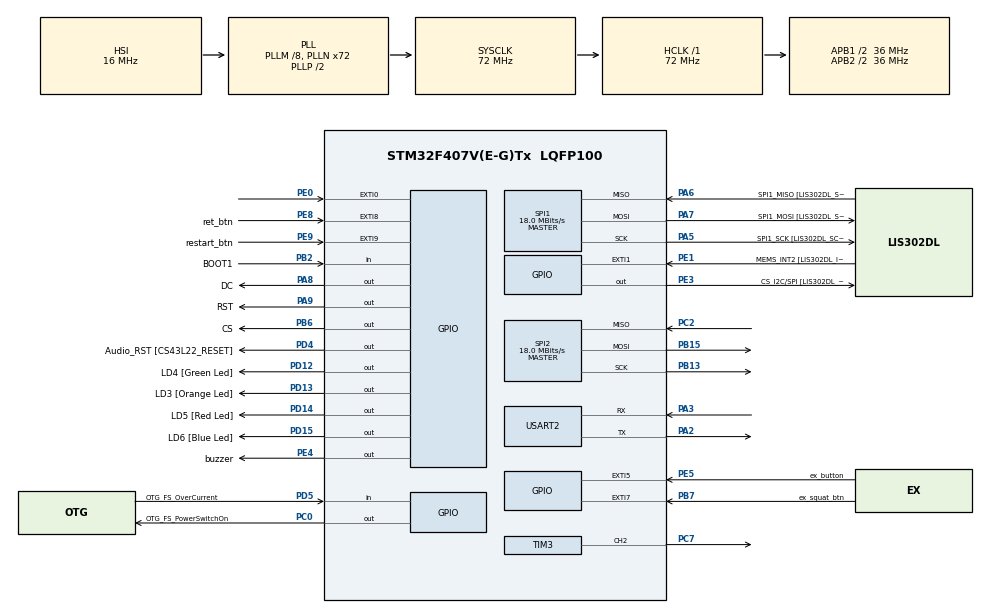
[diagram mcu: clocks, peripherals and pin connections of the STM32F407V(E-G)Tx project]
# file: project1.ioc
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Dma.Request0=SPI1_TX
Dma.Request1=SPI2_TX
Dma.SPI1_TX.0.Direction=DMA_MEMORY_TO_PERIPH
Dma.SPI1_TX.0.FIFOMode=DMA_FIFOMODE_DISABLE
Dma.SPI1_TX.0.Instance=DMA2_Stream3
Dma.SPI1_TX.0.MemDataAlignment=DMA_MDATAALIGN_BYTE
Dma.SPI1_TX.0.MemInc=DMA_MINC_ENABLE
Dma.SPI1_TX.0.Mode=DMA_NORMAL
Dma.SPI1_TX.0.PeriphDataAlignment=DMA_PDATAALIGN_BYTE
Dma.SPI1_TX.0.PeriphInc=DMA_PINC_DISABLE
Dma.SPI1_TX.0.Priority=DMA_PRIORITY_LOW
Dma.SPI2_TX.1.Direction=DMA_MEMORY_TO_PERIPH
Dma.SPI2_TX.1.FIFOMode=DMA_FIFOMODE_DISABLE
Dma.SPI2_TX.1.Instance=DMA1_Stream4
Dma.SPI2_TX.1.MemDataAlignment=DMA_MDATAALIGN_BYTE
Dma.SPI2_TX.1.MemInc=DMA_MINC_ENABLE
Dma.SPI2_TX.1.Mode=DMA_NORMAL
Dma.SPI2_TX.1.PeriphDataAlignment=DMA_PDATAALIGN_BYTE
Dma.SPI2_TX.1.PeriphInc=DMA_PINC_DISABLE
Dma.SPI2_TX.1.Priority=DMA_PRIORITY_LOW
Mcu.Family=STM32F4
Mcu.Name=STM32F407V(E-G)Tx
Mcu.Package=LQFP100
NVIC.DMA1_Stream4_IRQn=true\:0\:0\:false\:false\:true\:false\:true\:true
NVIC.DMA2_Stream3_IRQn=true\:0\:0\:false\:false\:true\:false\:true\:true
NVIC.EXTI0_IRQn=true\:0\:0\:false\:false\:true\:true\:true\:true
NVIC.EXTI9_5_IRQn=true\:0\:0\:false\:false\:true\:true\:true\:true
NVIC.PriorityGroup=NVIC_PRIORITYGROUP_4
NVIC.TIM7_IRQn=true\:0\:0\:false\:false\:true\:false\:true\:true
NVIC.TimeBase=TIM7_IRQn
NVIC.TimeBaseIP=TIM7
PA10.GPIO_Label=OTG_FS_ID
PA10.GPIO_Mode=GPIO_MODE_AF_PP
PA10.GPIO_PuPd=GPIO_NOPULL
PA10.GPIO_Speed=GPIO_SPEED_FREQ_LOW
PA10.Signal=USB_OTG_FS_ID
PA11.GPIO_Label=OTG_FS_DM
PA11.GPIO_Mode=GPIO_MODE_AF_PP
PA11.GPIO_PuPd=GPIO_NOPULL
PA11.GPIO_Speed=GPIO_SPEED_FREQ_LOW
PA11.Signal=USB_OTG_FS_DM
PA12.GPIO_Label=OTG_FS_DP
PA12.GPIO_Mode=GPIO_MODE_AF_PP
PA12.GPIO_PuPd=GPIO_NOPULL
PA12.GPIO_Speed=GPIO_SPEED_FREQ_LOW
PA12.Signal=USB_OTG_FS_DP
PA13.GPIO_Label=SWDIO
PA13.Mode=Serial_Wire
PA13.Signal=SYS_JTMS-SWDIO
PA14.GPIO_Label=SWCLK
PA14.Mode=Serial_Wire
PA14.Signal=SYS_JTCK-SWCLK
PA2.Mode=Asynchronous
PA2.Signal=USART2_TX
PA3.Mode=Asynchronous
PA3.Signal=USART2_RX
PA4.GPIO_Label=I2S3_WS [CS43L22_LRCK]
PA4.GPIO_Mode=GPIO_MODE_AF_PP
PA4.GPIO_PuPd=GPIO_NOPULL
PA4.GPIO_Speed=GPIO_SPEED_FREQ_LOW
PA4.Signal=I2S3_WS
PA5.GPIO_Label=SPI1_SCK [LIS302DL_SCL/SPC]
PA5.GPIO_Mode=GPIO_MODE_AF_PP
PA5.GPIO_PuPd=GPIO_NOPULL
PA5.GPIO_Speed=GPIO_SPEED_FREQ_LOW
PA5.Mode=Full_Duplex_Master
PA5.Signal=SPI1_SCK
PA6.GPIO_Label=SPI1_MISO [LIS302DL_SDO]
PA6.GPIO_Mode=GPIO_MODE_AF_PP
PA6.GPIO_PuPd=GPIO_NOPULL
PA6.GPIO_Speed=GPIO_SPEED_FREQ_LOW
PA6.Mode=Full_Duplex_Master
PA6.Signal=SPI1_MISO
PA7.GPIO_Label=SPI1_MOSI [LIS302DL_SDA/SDI/SDO]
PA7.GPIO_Mode=GPIO_MODE_AF_PP
PA7.GPIO_PuPd=GPIO_NOPULL
PA7.GPIO_Speed=GPIO_SPEED_FREQ_LOW
PA7.Mode=Full_Duplex_Master
PA7.Signal=SPI1_MOSI
PA8.GPIO_Label=DC
PA8.Signal=GPIO_Output
PA9.GPIO_Label=RST
PA9.Signal=GPIO_Output
PB10.GPIO_Label=CLK_IN [MP45DT02_CLK]
PB10.GPIO_Mode=GPIO_MODE_AF_PP
PB10.GPIO_PuPd=GPIO_NOPULL
PB10.GPIO_Speed=GPIO_SPEED_FREQ_LOW
PB10.Signal=I2S2_CK
PB13.Mode=Full_Duplex_Master
PB13.Signal=SPI2_SCK
PB15.Mode=Full_Duplex_Master
PB15.Signal=SPI2_MOSI
PB2.GPIO_Label=BOOT1
PB2.GPIO_Mode=GPIO_MODE_INPUT
PB2.GPIO_PuPd=GPIO_NOPULL
PB2.Signal=GPIO_Input
PB3.GPIO_Label=SWO
PB3.Signal=SYS_JTDO-SWO
PB6.GPIO_Label=CS
PB6.Signal=GPIO_Output
PB7.GPIO_Label=ex_squat_btn
PB7.GPIO_PuPd=GPIO_PULLUP
PB7.Signal=GPXTI7
PB9.GPIO_Label=Audio_SDA [CS43L22_SDA]
PB9.GPIO_Mode=GPIO_MODE_AF_OD
PB9.GPIO_PuPd=GPIO_NOPULL
PB9.GPIO_Speed=GPIO_SPEED_FREQ_LOW
PB9.Signal=I2C1_SDA
PC0.GPIO_Label=OTG_FS_PowerSwitchOn
PC0.GPIO_PuPd=GPIO_NOPULL
PC0.GPIO_Speed=GPIO_SPEED_FREQ_LOW
PC0.PinState=GPIO_PIN_SET
PC0.Signal=GPIO_Output
PC10.GPIO_Label=I2S3_SCK [CS43L22_SCLK]
PC10.GPIO_Mode=GPIO_MODE_AF_PP
PC10.GPIO_PuPd=GPIO_NOPULL
PC10.GPIO_Speed=GPIO_SPEED_FREQ_LOW
PC10.Signal=I2S3_CK
PC12.GPIO_Label=I2S3_SD [CS43L22_SDIN]
PC12.GPIO_Mode=GPIO_MODE_AF_PP
PC12.GPIO_PuPd=GPIO_NOPULL
PC12.GPIO_Speed=GPIO_SPEED_FREQ_LOW
PC12.Signal=I2S3_SD
PC14-OSC32_IN.GPIO_Label=PC14-OSC32_IN
PC14-OSC32_IN.Signal=RCC_OSC32_IN
PC15-OSC32_OUT.GPIO_Label=PC15-OSC32_OUT
PC15-OSC32_OUT.Signal=RCC_OSC32_OUT
PC2.Mode=Full_Duplex_Master
PC2.Signal=SPI2_MISO
PC3.GPIO_Label=PDM_OUT [MP45DT02_DOUT]
PC3.GPIO_Mode=GPIO_MODE_AF_PP
PC3.GPIO_PuPd=GPIO_NOPULL
PC3.GPIO_Speed=GPIO_SPEED_FREQ_LOW
PC3.Signal=I2S2_SD
PC7.Signal=S_TIM3_CH2
PD12.GPIO_Label=LD4 [Green Led]
PD12.GPIO_PuPd=GPIO_NOPULL
PD12.GPIO_Speed=GPIO_SPEED_FREQ_LOW
PD12.Signal=GPIO_Output
PD13.GPIO_Label=LD3 [Orange Led]
PD13.GPIO_PuPd=GPIO_NOPULL
PD13.GPIO_Speed=GPIO_SPEED_FREQ_LOW
PD13.Signal=GPIO_Output
PD14.GPIO_Label=LD5 [Red Led]
PD14.GPIO_PuPd=GPIO_NOPULL
PD14.GPIO_Speed=GPIO_SPEED_FREQ_LOW
PD14.Signal=GPIO_Output
PD15.GPIO_Label=LD6 [Blue Led]
PD15.GPIO_PuPd=GPIO_NOPULL
PD15.GPIO_Speed=GPIO_SPEED_FREQ_LOW
PD15.Signal=GPIO_Output
PD4.GPIO_Label=Audio_RST [CS43L22_RESET]
PD4.GPIO_PuPd=GPIO_NOPULL
PD4.GPIO_Speed=GPIO_SPEED_FREQ_LOW
PD4.Signal=GPIO_Output
PD5.GPIO_Label=OTG_FS_OverCurrent
PD5.GPIO_Mode=GPIO_MODE_INPUT
PD5.GPIO_PuPd=GPIO_NOPULL
PD5.Signal=GPIO_Input
PE0.Signal=GPXTI0
PE1.GPIO_Label=MEMS_INT2 [LIS302DL_INT2]
PE1.GPIO_ModeDefaultEXTI=GPIO_MODE_EVT_RISING
PE1.GPIO_PuPd=GPIO_NOPULL
PE1.Signal=GPXTI1
PE3.GPIO_Label=CS_I2C/SPI [LIS302DL_CS_I2C/SPI]
PE3.GPIO_PuPd=GPIO_NOPULL
PE3.GPIO_Speed=GPIO_SPEED_FREQ_LOW
PE3.Signal=GPIO_Output
PE4.GPIO_Label=buzzer
PE4.Signal=GPIO_Output
PE5.GPIO_Label=ex_button
PE5.GPIO_ModeDefaultEXTI=GPIO_MODE_IT_RISING
PE5.GPIO_PuPd=GPIO_PULLUP
PE5.Signal=GPXTI5
PE8.GPIO_Label=ret_btn
PE8.GPIO_PuPd=GPIO_PULLUP
PE8.Signal=GPXTI8
PE9.GPIO_Label=restart_btn
PE9.GPIO_PuPd=GPIO_PULLUP
PE9.Signal=GPXTI9
PH0-OSC_IN.GPIO_Label=PH0-OSC_IN
PH0-OSC_IN.Signal=RCC_OSC_IN
PH1-OSC_OUT.GPIO_Label=PH1-OSC_OUT
PH1-OSC_OUT.Signal=RCC_OSC_OUT
ProjectManager.HeapSize=0x200
ProjectManager.StackSize=0x400
ProjectManager.TargetToolchain=STM32CubeIDE
RCC.48MHZClocksFreq_Value=20571428.57142857
RCC.AHBFreq_Value=72000000
RCC.APB1CLKDivider=RCC_HCLK_DIV2
RCC.APB1Freq_Value=36000000
RCC.APB1TimFreq_Value=72000000
RCC.APB2CLKDivider=RCC_HCLK_DIV2
RCC.APB2Freq_Value=36000000
RCC.APB2TimFreq_Value=72000000
RCC.CortexFreq_Value=72000000
RCC.HCLKFreq_Value=72000000
RCC.HSE_VALUE=8000000
RCC.HSI_VALUE=16000000
RCC.LSE_VALUE=32768
RCC.PLLM=8
RCC.PLLN=72
RCC.PLLQ=7
RCC.SYSCLKFreq_VALUE=72000000
RCC.SYSCLKSource=RCC_SYSCLKSOURCE_PLLCLK
RCC.VCOOutputFreq_Value=144000000
SH.S_TIM3_CH2.0=TIM3_CH2,PWM Generation2 CH2
SPI1.BaudRatePrescaler=SPI_BAUDRATEPRESCALER_2
SPI1.CalculateBaudRate=18.0 MBits/s
SPI1.Direction=SPI_DIRECTION_2LINES
SPI1.Mode=SPI_MODE_MASTER
SPI1.VirtualType=VM_MASTER
SPI2.CalculateBaudRate=18.0 MBits/s
SPI2.Direction=SPI_DIRECTION_2LINES
SPI2.Mode=SPI_MODE_MASTER
SPI2.VirtualType=VM_MASTER
TIM3.Channel-PWM\ Generation2\ CH2=TIM_CHANNEL_2
USART2.VirtualMode=VM_ASYNC
VP_RNG_VS_RNG.Mode=RNG_Activate
VP_SYS_VS_tim7.Mode=TIM7
board=STM32F407G-DISC1

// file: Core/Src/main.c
/* USER CODE BEGIN Header */
/**
  ******************************************************************************
  * @file           : main.c
  * @brief          : Main program body
  ******************************************************************************
  * @attention
  *
  * Copyright (c) 2026 STMicroelectronics.
  * All rights reserved.
  *
  * This software is licensed under terms that can be found in the LICENSE file
  * in the root directory of this software component.
  * If no LICENSE file comes with this software, it is provided AS-IS.
  *
  ******************************************************************************
  */
/* USER CODE END Header */
#include "main.h"

/* USER CODE BEGIN Includes */
#include "FreeRTOS.h"
#include "task.h"
#include "GUI_Paint.h"
#include "fonts.h"
#include "image.h"
#include "LCD_Test.h"
#include "games.h"
#include "MY_LIS3DSH.h"
/* USER CODE END Includes */

RNG_HandleTypeDef hrng;

SPI_HandleTypeDef hspi1;
SPI_HandleTypeDef hspi2;
DMA_HandleTypeDef hdma_spi1_tx;
DMA_HandleTypeDef hdma_spi2_tx;

TIM_HandleTypeDef htim3;

UART_HandleTypeDef huart2;

/* USER CODE BEGIN PV */
char flag=0;
LIS3DSH_DataScaled myData;

/* USER CODE END PV */

void SystemClock_Config(void);
static void MX_GPIO_Init(void);
static void MX_DMA_Init(void);
static void MX_SPI1_Init(void);
static void MX_TIM3_Init(void);
static void MX_USART2_UART_Init(void);
static void MX_RNG_Init(void);
static void MX_SPI2_Init(void);

/* USER CODE BEGIN 0 */
int __io_putchar(int ch)
{
    HAL_UART_Transmit(&huart2, (uint8_t *)&ch, 1, HAL_MAX_DELAY);
    return ch;
}

TaskHandle_t menuHandle=NULL,DinoHandle=NULL,KartHandle=NULL;
volatile int8_t up=0,down=0,ret1=0,restart=0;

void menu(void *pvParameters){
	for(;;){
		Clear_Screen();
		printf("in menu\r\n");
		up=0,down=0;
		for(;;){
//			printf("up=%d down=%d\r\n", up, down);
			printf("Dino state = %d\r\n", eTaskGetState(DinoHandle));
			printf("Kart state = %d\r\n", eTaskGetState(KartHandle));
			if(up>=2){
				up=0;
				printf("Wake Dino state = %d\r\n", eTaskGetState(DinoHandle));
				vTaskResume(DinoHandle);
				vTaskSuspend(NULL);
				break;
			}else if(up){
				Paint_DrawString_EN(50,35,"Dino Game",&Font20,0xF800,0xFFFF);
//				printf("up\r\n");
			}else
				Paint_DrawString_EN(50,35,"Dino Game",&Font20,0xFFFF,0x0000);
	//		printf("up: %d\r\n",up);
			if(down>=2){
				down=0;
				printf("Wake Kart state = %d\r\n", eTaskGetState(KartHandle));
				vTaskResume(KartHandle);
				vTaskSuspend(NULL);
				break;
			}else if(down){
//				printf("down\r\n");
				Paint_DrawString_EN(50,80,"Race Game",&Font20,0xF800,0xFFFF);
			}else
				Paint_DrawString_EN(50,80,"Race Game",&Font20,0xFFFF,0x0000);
	//		printf("down: %d\r\n",down);
		}
	}
}

void Dino(void *pvParameters){
	for(;;){
		Clear_Screen();
		jump=0;squat=0;
		restart=0;
		ret1=0;
		Dino_Init();
		for(;;){
			Dino_Game();
			if(ret1){
				ret1=0;
				vTaskResume(menuHandle);
				vTaskSuspend(NULL);
				break;
			}
			if(restart)
				break;
		}
	}
}

void Kart(void *pvParameters){
	for(;;){
		Clear_Screen();
		Kart_Init();
		restart=0;
		ret1=0;
//		printf("ret on entry = %d\n", ret1);
		for(;;){
			Kart_Game();
			if(ret1){
				ret1=0;
				vTaskResume(menuHandle);
				vTaskSuspend(NULL);
				break;
			}
			if(restart)
				break;
		}
	}
}
#define DEBOUNCE 200
static uint32_t last_up=0,last_down=0,last_ret=0,last_restart=0;

void HAL_GPIO_EXTI_Callback(uint16_t GPIO_Pin)
{
	uint32_t now = HAL_GetTick();
    //return button
	if(GPIO_Pin==ret_btn_Pin&&(now - last_ret>DEBOUNCE)){
		printf("!\r\n");
		ret1=1;
		last_ret=now;
	}
	//up button
	if (GPIO_Pin == ex_button_Pin&&(now - last_up>DEBOUNCE))
    {
        printf("^\r\n");
		up++;
        down=0;
    	jump=1;
    	last_up=now;

    }
	//down button
    if(GPIO_Pin==ex_squat_btn_Pin&&(now - last_down>DEBOUNCE)){
    	printf("v\r\n");
    	up=0;
    	down++;
    	squat=1;
    	last_down=now;
    }
    //restart button
    if(GPIO_Pin==restart_btn_Pin&&(now - last_restart>DEBOUNCE)){
		printf("r\r\n");
		restart=1;
		last_restart=now;
    }

    //motion sensor
    if(GPIO_Pin==GPIO_PIN_0){
    	data_ready=1;
    }
}
/* USER CODE END 0 */

int main(void)
{
  /* USER CODE BEGIN 1 */
  LIS3DSH_InitTypeDef myAccConfigDef;
  /* USER CODE END 1 */

  /* MCU Configuration--------------------------------------------------------*/

  /* Reset of all peripherals, Initializes the Flash interface and the Systick. */
  HAL_Init();

  /* Configure the system clock */
  SystemClock_Config();

  /* Initialize all configured peripherals */
  MX_GPIO_Init();
  MX_DMA_Init();
  MX_SPI1_Init();
  MX_TIM3_Init();
  MX_USART2_UART_Init();
  MX_RNG_Init();
  MX_SPI2_Init();
  /* USER CODE BEGIN 2 */
  myAccConfigDef.dataRate = LIS3DSH_DATARATE_100;
  myAccConfigDef.fullScale = LIS3DSH_FULLSCALE_2;
  myAccConfigDef.antiAliasingBW = LIS3DSH_FILTER_BW_50;
  myAccConfigDef.enableAxes = LIS3DSH_XYZ_ENABLE;
  myAccConfigDef.interruptEnable = true;
  LIS3DSH_Init(&hspi1, &myAccConfigDef);

  LIS3DSH_X_calibrate(-1000.0, 980.0);
  LIS3DSH_Y_calibrate(-1020.0, 1040.0);
  LIS3DSH_Z_calibrate(-920.0, 1040.0);
  lcd_init();
//  printf("lcd init\r\n");
//  Dino_Init();
//  Kart_Init();
//  if(xTaskCreate(menu, "main menu", 512, NULL, 5, &menuHandle) != pdPASS) {
//      printf("menu task create failed!\r\n");
//  }
//  BaseType_t ret;
  xTaskCreate(menu,
		  "main menu",
		  512,
		  NULL,
		  3,
		  &menuHandle);
//  printf("menu create: %ld\r\n", ret);

  xTaskCreate(Dino,
		  "Dino_Game",
		  1024,
		  NULL,
		  3,
		  &DinoHandle);
//  printf("dino create: %ld\r\n", ret);
  xTaskCreate(Kart,
  		  "Kart_Game",
  		  1024,
  		  NULL,
  		  3,
  		  &KartHandle);
//  printf("Kart create: %ld\r\n", ret);
  vTaskSuspend(DinoHandle);
  vTaskSuspend(KartHandle);
  vTaskStartScheduler();

  /* USER CODE END 2 */

  /* Infinite loop */
  while (1)
  {

    /* USER CODE BEGIN 3 */
//	Dino_Game();
//	Kart_Game();
  }
  /* USER CODE END 3 */
}

void SystemClock_Config(void)
{
  RCC_OscInitTypeDef RCC_OscInitStruct = {0};
  RCC_ClkInitTypeDef RCC_ClkInitStruct = {0};

  /** Configure the main internal regulator output voltage
  */
  __HAL_RCC_PWR_CLK_ENABLE();
  __HAL_PWR_VOLTAGESCALING_CONFIG(PWR_REGULATOR_VOLTAGE_SCALE1);

  /** Initializes the RCC Oscillators according to the specified parameters
  * in the RCC_OscInitTypeDef structure.
  */
  RCC_OscInitStruct.OscillatorType = RCC_OSCILLATORTYPE_HSI;
  RCC_OscInitStruct.HSIState = RCC_HSI_ON;
  RCC_OscInitStruct.HSICalibrationValue = RCC_HSICALIBRATION_DEFAULT;
  RCC_OscInitStruct.PLL.PLLState = RCC_PLL_ON;
  RCC_OscInitStruct.PLL.PLLSource = RCC_PLLSOURCE_HSI;
  RCC_OscInitStruct.PLL.PLLM = 8;
  RCC_OscInitStruct.PLL.PLLN = 72;
  RCC_OscInitStruct.PLL.PLLP = RCC_PLLP_DIV2;
  RCC_OscInitStruct.PLL.PLLQ = 7;
  if (HAL_RCC_OscConfig(&RCC_OscInitStruct) != HAL_OK)
  {
    Error_Handler();
  }

  /** Initializes the CPU, AHB and APB buses clocks
  */
  RCC_ClkInitStruct.ClockType = RCC_CLOCKTYPE_HCLK|RCC_CLOCKTYPE_SYSCLK
                              |RCC_CLOCKTYPE_PCLK1|RCC_CLOCKTYPE_PCLK2;
  RCC_ClkInitStruct.SYSCLKSource = RCC_SYSCLKSOURCE_PLLCLK;
  RCC_ClkInitStruct.AHBCLKDivider = RCC_SYSCLK_DIV1;
  RCC_ClkInitStruct.APB1CLKDivider = RCC_HCLK_DIV2;
  RCC_ClkInitStruct.APB2CLKDivider = RCC_HCLK_DIV2;

  if (HAL_RCC_ClockConfig(&RCC_ClkInitStruct, FLASH_LATENCY_2) != HAL_OK)
  {
    Error_Handler();
  }
}

static void MX_RNG_Init(void)
{

  hrng.Instance = RNG;
  if (HAL_RNG_Init(&hrng) != HAL_OK)
  {
    Error_Handler();
  }

}

static void MX_SPI1_Init(void)
{

  /* SPI1 parameter configuration*/
  hspi1.Instance = SPI1;
  hspi1.Init.Mode = SPI_MODE_MASTER;
  hspi1.Init.Direction = SPI_DIRECTION_2LINES;
  hspi1.Init.DataSize = SPI_DATASIZE_8BIT;
  hspi1.Init.CLKPolarity = SPI_POLARITY_LOW;
  hspi1.Init.CLKPhase = SPI_PHASE_1EDGE;
  hspi1.Init.NSS = SPI_NSS_SOFT;
  hspi1.Init.BaudRatePrescaler = SPI_BAUDRATEPRESCALER_2;
  hspi1.Init.FirstBit = SPI_FIRSTBIT_MSB;
  hspi1.Init.TIMode = SPI_TIMODE_DISABLE;
  hspi1.Init.CRCCalculation = SPI_CRCCALCULATION_DISABLE;
  hspi1.Init.CRCPolynomial = 10;
  if (HAL_SPI_Init(&hspi1) != HAL_OK)
  {
    Error_Handler();
  }

}

static void MX_SPI2_Init(void)
{

  /* SPI2 parameter configuration*/
  hspi2.Instance = SPI2;
  hspi2.Init.Mode = SPI_MODE_MASTER;
  hspi2.Init.Direction = SPI_DIRECTION_2LINES;
  hspi2.Init.DataSize = SPI_DATASIZE_8BIT;
  hspi2.Init.CLKPolarity = SPI_POLARITY_LOW;
  hspi2.Init.CLKPhase = SPI_PHASE_1EDGE;
  hspi2.Init.NSS = SPI_NSS_SOFT;
  hspi2.Init.BaudRatePrescaler = SPI_BAUDRATEPRESCALER_2;
  hspi2.Init.FirstBit = SPI_FIRSTBIT_MSB;
  hspi2.Init.TIMode = SPI_TIMODE_DISABLE;
  hspi2.Init.CRCCalculation = SPI_CRCCALCULATION_DISABLE;
  hspi2.Init.CRCPolynomial = 10;
  if (HAL_SPI_Init(&hspi2) != HAL_OK)
  {
    Error_Handler();
  }

}

static void MX_TIM3_Init(void)
{

  TIM_MasterConfigTypeDef sMasterConfig = {0};
  TIM_OC_InitTypeDef sConfigOC = {0};

  htim3.Instance = TIM3;
  htim3.Init.Prescaler = 0;
  htim3.Init.CounterMode = TIM_COUNTERMODE_UP;
  htim3.Init.Period = 65535;
  htim3.Init.ClockDivision = TIM_CLOCKDIVISION_DIV1;
  htim3.Init.AutoReloadPreload = TIM_AUTORELOAD_PRELOAD_DISABLE;
  if (HAL_TIM_PWM_Init(&htim3) != HAL_OK)
  {
    Error_Handler();
  }
  sMasterConfig.MasterOutputTrigger = TIM_TRGO_RESET;
  sMasterConfig.MasterSlaveMode = TIM_MASTERSLAVEMODE_DISABLE;
  if (HAL_TIMEx_MasterConfigSynchronization(&htim3, &sMasterConfig) != HAL_OK)
  {
    Error_Handler();
  }
  sConfigOC.OCMode = TIM_OCMODE_PWM1;
  sConfigOC.Pulse = 0;
  sConfigOC.OCPolarity = TIM_OCPOLARITY_HIGH;
  sConfigOC.OCFastMode = TIM_OCFAST_DISABLE;
  if (HAL_TIM_PWM_ConfigChannel(&htim3, &sConfigOC, TIM_CHANNEL_2) != HAL_OK)
  {
    Error_Handler();
  }
  HAL_TIM_MspPostInit(&htim3);

}

static void MX_USART2_UART_Init(void)
{

  huart2.Instance = USART2;
  huart2.Init.BaudRate = 115200;
  huart2.Init.WordLength = UART_WORDLENGTH_8B;
  huart2.Init.StopBits = UART_STOPBITS_1;
  huart2.Init.Parity = UART_PARITY_NONE;
  huart2.Init.Mode = UART_MODE_TX_RX;
  huart2.Init.HwFlowCtl = UART_HWCONTROL_NONE;
  huart2.Init.OverSampling = UART_OVERSAMPLING_16;
  if (HAL_UART_Init(&huart2) != HAL_OK)
  {
    Error_Handler();
  }

}

static void MX_DMA_Init(void)
{

  /* DMA controller clock enable */
  __HAL_RCC_DMA2_CLK_ENABLE();
  __HAL_RCC_DMA1_CLK_ENABLE();

  /* DMA interrupt init */
  /* DMA1_Stream4_IRQn interrupt configuration */
  HAL_NVIC_SetPriority(DMA1_Stream4_IRQn, 0, 0);
  HAL_NVIC_EnableIRQ(DMA1_Stream4_IRQn);
  /* DMA2_Stream3_IRQn interrupt configuration */
  HAL_NVIC_SetPriority(DMA2_Stream3_IRQn, 0, 0);
  HAL_NVIC_EnableIRQ(DMA2_Stream3_IRQn);

}

static void MX_GPIO_Init(void)
{
  GPIO_InitTypeDef GPIO_InitStruct = {0};

  /* GPIO Ports Clock Enable */
  __HAL_RCC_GPIOE_CLK_ENABLE();
  __HAL_RCC_GPIOC_CLK_ENABLE();
  __HAL_RCC_GPIOH_CLK_ENABLE();
  __HAL_RCC_GPIOA_CLK_ENABLE();
  __HAL_RCC_GPIOB_CLK_ENABLE();
  __HAL_RCC_GPIOD_CLK_ENABLE();

  /*Configure GPIO pin Output Level */
  HAL_GPIO_WritePin(GPIOE, CS_I2C_SPI_Pin|buzzer_Pin, GPIO_PIN_RESET);

  /*Configure GPIO pin Output Level */
  HAL_GPIO_WritePin(OTG_FS_PowerSwitchOn_GPIO_Port, OTG_FS_PowerSwitchOn_Pin, GPIO_PIN_SET);

  /*Configure GPIO pin Output Level */
  HAL_GPIO_WritePin(GPIOD, LD4_Pin|LD3_Pin|LD5_Pin|LD6_Pin
                          |Audio_RST_Pin, GPIO_PIN_RESET);

  /*Configure GPIO pin Output Level */
  HAL_GPIO_WritePin(GPIOA, DC_Pin|RST_Pin, GPIO_PIN_RESET);

  /*Configure GPIO pin Output Level */
  HAL_GPIO_WritePin(CS_GPIO_Port, CS_Pin, GPIO_PIN_RESET);

  /*Configure GPIO pins : CS_I2C_SPI_Pin buzzer_Pin */
  GPIO_InitStruct.Pin = CS_I2C_SPI_Pin|buzzer_Pin;
  GPIO_InitStruct.Mode = GPIO_MODE_OUTPUT_PP;
  GPIO_InitStruct.Pull = GPIO_NOPULL;
  GPIO_InitStruct.Speed = GPIO_SPEED_FREQ_LOW;
  HAL_GPIO_Init(GPIOE, &GPIO_InitStruct);

  /*Configure GPIO pins : ex_button_Pin ret_btn_Pin restart_btn_Pin */
  GPIO_InitStruct.Pin = ex_button_Pin|ret_btn_Pin|restart_btn_Pin;
  GPIO_InitStruct.Mode = GPIO_MODE_IT_RISING;
  GPIO_InitStruct.Pull = GPIO_PULLUP;
  HAL_GPIO_Init(GPIOE, &GPIO_InitStruct);

  /*Configure GPIO pin : OTG_FS_PowerSwitchOn_Pin */
  GPIO_InitStruct.Pin = OTG_FS_PowerSwitchOn_Pin;
  GPIO_InitStruct.Mode = GPIO_MODE_OUTPUT_PP;
  GPIO_InitStruct.Pull = GPIO_NOPULL;
  GPIO_InitStruct.Speed = GPIO_SPEED_FREQ_LOW;
  HAL_GPIO_Init(OTG_FS_PowerSwitchOn_GPIO_Port, &GPIO_InitStruct);

  /*Configure GPIO pin : PDM_OUT_Pin */
  GPIO_InitStruct.Pin = PDM_OUT_Pin;
  GPIO_InitStruct.Mode = GPIO_MODE_AF_PP;
  GPIO_InitStruct.Pull = GPIO_NOPULL;
  GPIO_InitStruct.Speed = GPIO_SPEED_FREQ_LOW;
  GPIO_InitStruct.Alternate = GPIO_AF5_SPI2;
  HAL_GPIO_Init(PDM_OUT_GPIO_Port, &GPIO_InitStruct);

  /*Configure GPIO pin : I2S3_WS_Pin */
  GPIO_InitStruct.Pin = I2S3_WS_Pin;
  GPIO_InitStruct.Mode = GPIO_MODE_AF_PP;
  GPIO_InitStruct.Pull = GPIO_NOPULL;
  GPIO_InitStruct.Speed = GPIO_SPEED_FREQ_LOW;
  GPIO_InitStruct.Alternate = GPIO_AF6_SPI3;
  HAL_GPIO_Init(I2S3_WS_GPIO_Port, &GPIO_InitStruct);

  /*Configure GPIO pin : BOOT1_Pin */
  GPIO_InitStruct.Pin = BOOT1_Pin;
  GPIO_InitStruct.Mode = GPIO_MODE_INPUT;
  GPIO_InitStruct.Pull = GPIO_NOPULL;
  HAL_GPIO_Init(BOOT1_GPIO_Port, &GPIO_InitStruct);

  /*Configure GPIO pin : CLK_IN_Pin */
  GPIO_InitStruct.Pin = CLK_IN_Pin;
  GPIO_InitStruct.Mode = GPIO_MODE_AF_PP;
  GPIO_InitStruct.Pull = GPIO_NOPULL;
  GPIO_InitStruct.Speed = GPIO_SPEED_FREQ_LOW;
  GPIO_InitStruct.Alternate = GPIO_AF5_SPI2;
  HAL_GPIO_Init(CLK_IN_GPIO_Port, &GPIO_InitStruct);

  /*Configure GPIO pins : LD4_Pin LD3_Pin LD5_Pin LD6_Pin
                           Audio_RST_Pin */
  GPIO_InitStruct.Pin = LD4_Pin|LD3_Pin|LD5_Pin|LD6_Pin
                          |Audio_RST_Pin;
  GPIO_InitStruct.Mode = GPIO_MODE_OUTPUT_PP;
  GPIO_InitStruct.Pull = GPIO_NOPULL;
  GPIO_InitStruct.Speed = GPIO_SPEED_FREQ_LOW;
  HAL_GPIO_Init(GPIOD, &GPIO_InitStruct);

  /*Configure GPIO pins : DC_Pin RST_Pin */
  GPIO_InitStruct.Pin = DC_Pin|RST_Pin;
  GPIO_InitStruct.Mode = GPIO_MODE_OUTPUT_PP;
  GPIO_InitStruct.Pull = GPIO_NOPULL;
  GPIO_InitStruct.Speed = GPIO_SPEED_FREQ_LOW;
  HAL_GPIO_Init(GPIOA, &GPIO_InitStruct);

  /*Configure GPIO pins : OTG_FS_ID_Pin OTG_FS_DM_Pin OTG_FS_DP_Pin */
  GPIO_InitStruct.Pin = OTG_FS_ID_Pin|OTG_FS_DM_Pin|OTG_FS_DP_Pin;
  GPIO_InitStruct.Mode = GPIO_MODE_AF_PP;
  GPIO_InitStruct.Pull = GPIO_NOPULL;
  GPIO_InitStruct.Speed = GPIO_SPEED_FREQ_LOW;
  GPIO_InitStruct.Alternate = GPIO_AF10_OTG_FS;
  HAL_GPIO_Init(GPIOA, &GPIO_InitStruct);

  /*Configure GPIO pins : I2S3_SCK_Pin I2S3_SD_Pin */
  GPIO_InitStruct.Pin = I2S3_SCK_Pin|I2S3_SD_Pin;
  GPIO_InitStruct.Mode = GPIO_MODE_AF_PP;
  GPIO_InitStruct.Pull = GPIO_NOPULL;
  GPIO_InitStruct.Speed = GPIO_SPEED_FREQ_LOW;
  GPIO_InitStruct.Alternate = GPIO_AF6_SPI3;
  HAL_GPIO_Init(GPIOC, &GPIO_InitStruct);

  /*Configure GPIO pin : OTG_FS_OverCurrent_Pin */
  GPIO_InitStruct.Pin = OTG_FS_OverCurrent_Pin;
  GPIO_InitStruct.Mode = GPIO_MODE_INPUT;
  GPIO_InitStruct.Pull = GPIO_NOPULL;
  HAL_GPIO_Init(OTG_FS_OverCurrent_GPIO_Port, &GPIO_InitStruct);

  /*Configure GPIO pin : CS_Pin */
  GPIO_InitStruct.Pin = CS_Pin;
  GPIO_InitStruct.Mode = GPIO_MODE_OUTPUT_PP;
  GPIO_InitStruct.Pull = GPIO_NOPULL;
  GPIO_InitStruct.Speed = GPIO_SPEED_FREQ_LOW;
  HAL_GPIO_Init(CS_GPIO_Port, &GPIO_InitStruct);

  /*Configure GPIO pin : ex_squat_btn_Pin */
  GPIO_InitStruct.Pin = ex_squat_btn_Pin;
  GPIO_InitStruct.Mode = GPIO_MODE_IT_RISING;
  GPIO_InitStruct.Pull = GPIO_PULLUP;
  HAL_GPIO_Init(ex_squat_btn_GPIO_Port, &GPIO_InitStruct);

  /*Configure GPIO pin : Audio_SDA_Pin */
  GPIO_InitStruct.Pin = Audio_SDA_Pin;
  GPIO_InitStruct.Mode = GPIO_MODE_AF_OD;
  GPIO_InitStruct.Pull = GPIO_NOPULL;
  GPIO_InitStruct.Speed = GPIO_SPEED_FREQ_LOW;
  GPIO_InitStruct.Alternate = GPIO_AF4_I2C1;
  HAL_GPIO_Init(Audio_SDA_GPIO_Port, &GPIO_InitStruct);

  /*Configure GPIO pin : PE0 */
  GPIO_InitStruct.Pin = GPIO_PIN_0;
  GPIO_InitStruct.Mode = GPIO_MODE_IT_RISING;
  GPIO_InitStruct.Pull = GPIO_NOPULL;
  HAL_GPIO_Init(GPIOE, &GPIO_InitStruct);

  /*Configure GPIO pin : MEMS_INT2_Pin */
  GPIO_InitStruct.Pin = MEMS_INT2_Pin;
  GPIO_InitStruct.Mode = GPIO_MODE_EVT_RISING;
  GPIO_InitStruct.Pull = GPIO_NOPULL;
  HAL_GPIO_Init(MEMS_INT2_GPIO_Port, &GPIO_InitStruct);

  /* EXTI interrupt init*/
  HAL_NVIC_SetPriority(EXTI0_IRQn, 0, 0);
  HAL_NVIC_EnableIRQ(EXTI0_IRQn);

  HAL_NVIC_SetPriority(EXTI9_5_IRQn, 0, 0);
  HAL_NVIC_EnableIRQ(EXTI9_5_IRQn);

}

void HAL_TIM_PeriodElapsedCallback(TIM_HandleTypeDef *htim)
{
  if (htim->Instance == TIM7) {
    HAL_IncTick();
  }
}

void Error_Handler(void)
{
  __disable_irq();
  while (1)
  {
  }
}
